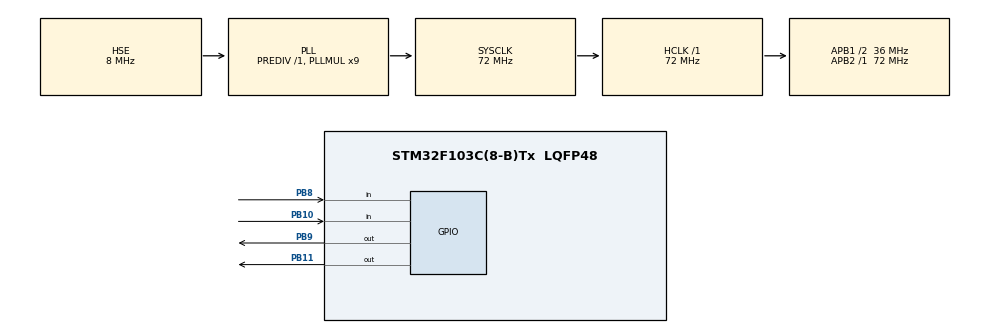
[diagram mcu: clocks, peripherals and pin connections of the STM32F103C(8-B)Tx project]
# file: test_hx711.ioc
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Mcu.Family=STM32F1
Mcu.Name=STM32F103C(8-B)Tx
Mcu.Package=LQFP48
NVIC.PriorityGroup=NVIC_PRIORITYGROUP_4
PA13.Mode=Serial_Wire
PA13.Signal=SYS_JTMS-SWDIO
PA14.Mode=Serial_Wire
PA14.Signal=SYS_JTCK-SWCLK
PB10.Signal=GPIO_Input
PB11.Signal=GPIO_Output
PB8.Signal=GPIO_Input
PB9.Signal=GPIO_Output
PD0-OSC_IN.Mode=HSE-External-Oscillator
PD0-OSC_IN.Signal=RCC_OSC_IN
PD1-OSC_OUT.Mode=HSE-External-Oscillator
PD1-OSC_OUT.Signal=RCC_OSC_OUT
ProjectManager.HeapSize=0x200
ProjectManager.StackSize=0x400
ProjectManager.TargetToolchain=STM32CubeIDE
RCC.AHBFreq_Value=72000000
RCC.APB1CLKDivider=RCC_HCLK_DIV2
RCC.APB1Freq_Value=36000000
RCC.APB1TimFreq_Value=72000000
RCC.APB2Freq_Value=72000000
RCC.APB2TimFreq_Value=72000000
RCC.HCLKFreq_Value=72000000
RCC.PLLMUL=RCC_PLL_MUL9
RCC.PLLSourceVirtual=RCC_PLLSOURCE_HSE
RCC.SYSCLKFreq_VALUE=72000000
RCC.SYSCLKSource=RCC_SYSCLKSOURCE_PLLCLK
RCC.USBFreq_Value=72000000
TIM1.Prescaler=71
TIM2.Prescaler=71
VP_TIM1_VS_ClockSourceINT.Mode=Internal
VP_TIM2_VS_ClockSourceINT.Mode=Internal
board=custom

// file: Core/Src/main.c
/* USER CODE BEGIN Header */
/**
  ******************************************************************************
  * @file           : main.c
  * @brief          : Main program body
  ******************************************************************************
  * @attention
  *
  * Copyright (c) 2024 STMicroelectronics.
  * All rights reserved.
  *
  * This software is licensed under terms that can be found in the LICENSE file
  * in the root directory of this software component.
  * If no LICENSE file comes with this software, it is provided AS-IS.
  *
  ******************************************************************************
  */
/* USER CODE END Header */
#include "main.h"

TIM_HandleTypeDef htim1;
TIM_HandleTypeDef htim2;

void SystemClock_Config(void);
static void MX_GPIO_Init(void);
static void MX_TIM1_Init(void);
static void MX_TIM2_Init(void);

/* USER CODE BEGIN 0 */

#define DT_PIN GPIO_PIN_8
#define DT_PORT GPIOB
#define SCK_PIN GPIO_PIN_9
#define SCK_PORT GPIOB

int offset = 0U;

uint32_t tare = 8418394U; //error loadcell
float knownOriginal = 5830000U;  // (in milli gram) real weight 5830000
float knownHX711 = 859763U;
float knownOriginalForce = 4614U;
int weight;
int force;

void microDelay(uint16_t delay)
{
  __HAL_TIM_SET_COUNTER(&htim2, 0);
  while (__HAL_TIM_GET_COUNTER(&htim2) < delay);
}

int32_t getHX711(void)
{
  uint32_t data = 0;
  uint32_t startTime = HAL_GetTick();
  while(HAL_GPIO_ReadPin(DT_PORT, DT_PIN) == GPIO_PIN_SET)
  {
    if(HAL_GetTick() - startTime > 200)
      return 0;
  }
  for(int8_t len=0; len<24 ; len++)
  {
    HAL_GPIO_WritePin(SCK_PORT, SCK_PIN, GPIO_PIN_SET);
    microDelay(1);
    data = data << 1;
    HAL_GPIO_WritePin(SCK_PORT, SCK_PIN, GPIO_PIN_RESET);
    microDelay(1);
    if(HAL_GPIO_ReadPin(DT_PORT, DT_PIN) == GPIO_PIN_SET)
      data ++;
  }
  data = data ^ 0x800000;
  HAL_GPIO_WritePin(SCK_PORT, SCK_PIN, GPIO_PIN_SET);
  microDelay(1);
  HAL_GPIO_WritePin(SCK_PORT, SCK_PIN, GPIO_PIN_RESET);
  microDelay(1);
  return data;
}

int weigh()
{
  int32_t  total = 0;
  int32_t  samples = 100;
  int milligram;
  float coefficient;
  for(uint16_t i = 0 ; i < samples ; i++)
  {
      total += getHX711();
  }
  int32_t average = (int32_t)(total / samples);
  coefficient = knownOriginal / knownHX711;
  milligram = (int)(average-tare)*coefficient;
  return milligram;
}

int getForce(){
	int32_t ratio;
	float Force;
	float ConfigForce;
	for (int y = 0; y < 4; y++){
		weight = weigh() - offset; // in milligram
	}
	Force = weight / 1000;
	ratio = (Force*100)/knownOriginalForce;
	ConfigForce = Force + ratio*offset/100000;
	return ConfigForce;
}

/* USER CODE END 0 */

int main(void)
{

  /* MCU Configuration--------------------------------------------------------*/

  /* Reset of all peripherals, Initializes the Flash interface and the Systick. */
  HAL_Init();

  /* Configure the system clock */
  SystemClock_Config();

  /* Initialize all configured peripherals */
  MX_GPIO_Init();
  MX_TIM1_Init();
  MX_TIM2_Init();
  /* USER CODE BEGIN 2 */
  HAL_TIM_Base_Start(&htim2);
  HAL_GPIO_WritePin(SCK_PORT, SCK_PIN, GPIO_PIN_SET);
  HAL_Delay(10);
  HAL_GPIO_WritePin(SCK_PORT, SCK_PIN, GPIO_PIN_RESET);
  HAL_Delay(10);

  for (int z = 0; z < 5; z++){
	  offset = weigh();
  }
  /* USER CODE END 2 */

  /* Infinite loop */
  /* USER CODE BEGIN WHILE */
  while (1)
  {
	  force = getForce();

    /* USER CODE END WHILE */

  }
}

void SystemClock_Config(void)
{
  RCC_OscInitTypeDef RCC_OscInitStruct = {0};
  RCC_ClkInitTypeDef RCC_ClkInitStruct = {0};

  /** Initializes the RCC Oscillators according to the specified parameters
  * in the RCC_OscInitTypeDef structure.
  */
  RCC_OscInitStruct.OscillatorType = RCC_OSCILLATORTYPE_HSE;
  RCC_OscInitStruct.HSEState = RCC_HSE_ON;
  RCC_OscInitStruct.HSEPredivValue = RCC_HSE_PREDIV_DIV1;
  RCC_OscInitStruct.HSIState = RCC_HSI_ON;
  RCC_OscInitStruct.PLL.PLLState = RCC_PLL_ON;
  RCC_OscInitStruct.PLL.PLLSource = RCC_PLLSOURCE_HSE;
  RCC_OscInitStruct.PLL.PLLMUL = RCC_PLL_MUL9;
  if (HAL_RCC_OscConfig(&RCC_OscInitStruct) != HAL_OK)
  {
    Error_Handler();
  }

  /** Initializes the CPU, AHB and APB buses clocks
  */
  RCC_ClkInitStruct.ClockType = RCC_CLOCKTYPE_HCLK|RCC_CLOCKTYPE_SYSCLK
                              |RCC_CLOCKTYPE_PCLK1|RCC_CLOCKTYPE_PCLK2;
  RCC_ClkInitStruct.SYSCLKSource = RCC_SYSCLKSOURCE_PLLCLK;
  RCC_ClkInitStruct.AHBCLKDivider = RCC_SYSCLK_DIV1;
  RCC_ClkInitStruct.APB1CLKDivider = RCC_HCLK_DIV2;
  RCC_ClkInitStruct.APB2CLKDivider = RCC_HCLK_DIV1;

  if (HAL_RCC_ClockConfig(&RCC_ClkInitStruct, FLASH_LATENCY_2) != HAL_OK)
  {
    Error_Handler();
  }
}

static void MX_TIM1_Init(void)
{

  TIM_ClockConfigTypeDef sClockSourceConfig = {0};
  TIM_MasterConfigTypeDef sMasterConfig = {0};

  htim1.Instance = TIM1;
  htim1.Init.Prescaler = 71;
  htim1.Init.CounterMode = TIM_COUNTERMODE_UP;
  htim1.Init.Period = 65535;
  htim1.Init.ClockDivision = TIM_CLOCKDIVISION_DIV1;
  htim1.Init.RepetitionCounter = 0;
  htim1.Init.AutoReloadPreload = TIM_AUTORELOAD_PRELOAD_DISABLE;
  if (HAL_TIM_Base_Init(&htim1) != HAL_OK)
  {
    Error_Handler();
  }
  sClockSourceConfig.ClockSource = TIM_CLOCKSOURCE_INTERNAL;
  if (HAL_TIM_ConfigClockSource(&htim1, &sClockSourceConfig) != HAL_OK)
  {
    Error_Handler();
  }
  sMasterConfig.MasterOutputTrigger = TIM_TRGO_RESET;
  sMasterConfig.MasterSlaveMode = TIM_MASTERSLAVEMODE_DISABLE;
  if (HAL_TIMEx_MasterConfigSynchronization(&htim1, &sMasterConfig) != HAL_OK)
  {
    Error_Handler();
  }

}

static void MX_TIM2_Init(void)
{

  TIM_ClockConfigTypeDef sClockSourceConfig = {0};
  TIM_MasterConfigTypeDef sMasterConfig = {0};

  htim2.Instance = TIM2;
  htim2.Init.Prescaler = 71;
  htim2.Init.CounterMode = TIM_COUNTERMODE_UP;
  htim2.Init.Period = 65535;
  htim2.Init.ClockDivision = TIM_CLOCKDIVISION_DIV1;
  htim2.Init.AutoReloadPreload = TIM_AUTORELOAD_PRELOAD_DISABLE;
  if (HAL_TIM_Base_Init(&htim2) != HAL_OK)
  {
    Error_Handler();
  }
  sClockSourceConfig.ClockSource = TIM_CLOCKSOURCE_INTERNAL;
  if (HAL_TIM_ConfigClockSource(&htim2, &sClockSourceConfig) != HAL_OK)
  {
    Error_Handler();
  }
  sMasterConfig.MasterOutputTrigger = TIM_TRGO_RESET;
  sMasterConfig.MasterSlaveMode = TIM_MASTERSLAVEMODE_DISABLE;
  if (HAL_TIMEx_MasterConfigSynchronization(&htim2, &sMasterConfig) != HAL_OK)
  {
    Error_Handler();
  }

}

static void MX_GPIO_Init(void)
{
  GPIO_InitTypeDef GPIO_InitStruct = {0};

  /* GPIO Ports Clock Enable */
  __HAL_RCC_GPIOD_CLK_ENABLE();
  __HAL_RCC_GPIOB_CLK_ENABLE();
  __HAL_RCC_GPIOA_CLK_ENABLE();

  /*Configure GPIO pin Output Level */
  HAL_GPIO_WritePin(GPIOB, GPIO_PIN_11|GPIO_PIN_9, GPIO_PIN_RESET);

  /*Configure GPIO pins : PB10 PB8 */
  GPIO_InitStruct.Pin = GPIO_PIN_10|GPIO_PIN_8;
  GPIO_InitStruct.Mode = GPIO_MODE_INPUT;
  GPIO_InitStruct.Pull = GPIO_NOPULL;
  HAL_GPIO_Init(GPIOB, &GPIO_InitStruct);

  /*Configure GPIO pins : PB11 PB9 */
  GPIO_InitStruct.Pin = GPIO_PIN_11|GPIO_PIN_9;
  GPIO_InitStruct.Mode = GPIO_MODE_OUTPUT_PP;
  GPIO_InitStruct.Pull = GPIO_NOPULL;
  GPIO_InitStruct.Speed = GPIO_SPEED_FREQ_LOW;
  HAL_GPIO_Init(GPIOB, &GPIO_InitStruct);

}

void Error_Handler(void)
{
  __disable_irq();
  while (1)
  {
  }
}
